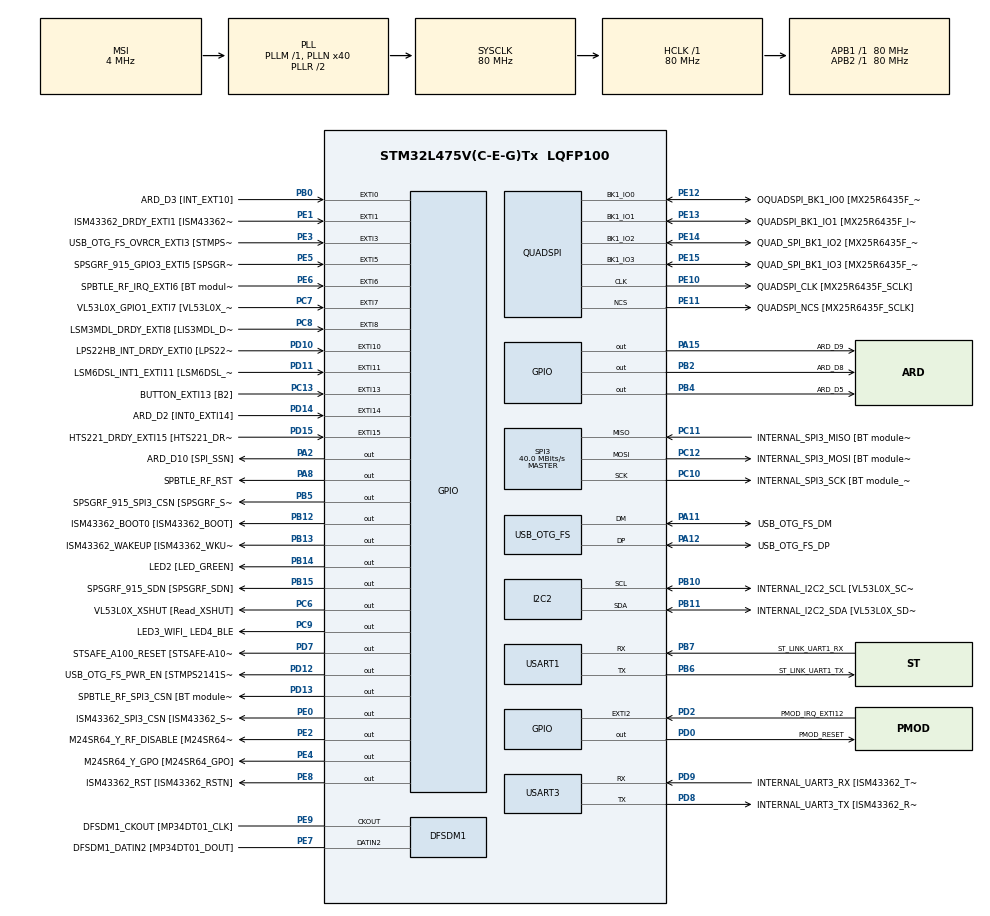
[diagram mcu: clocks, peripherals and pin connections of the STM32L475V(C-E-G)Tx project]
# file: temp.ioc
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Mcu.Family=STM32L4
Mcu.Name=STM32L475V(C-E-G)Tx
Mcu.Package=LQFP100
NVIC.EXTI15_10_IRQn=true\:0\:0\:false\:false\:true\:true\:true
NVIC.EXTI9_5_IRQn=true\:0\:0\:false\:false\:true\:true\:true
NVIC.PriorityGroup=NVIC_PRIORITYGROUP_4
PA0.GPIO_Label=ARD_D1 [UART4_TX]
PA0.Signal=UART4_TX
PA1.GPIO_Label=ARD_D0 [UART4_RX]
PA1.Signal=UART4_RX
PA10.GPIO_Label=USB_OTG_FS_ID
PA10.Signal=USB_OTG_FS_ID
PA11.GPIO_Label=USB_OTG_FS_DM
PA11.Mode=Device_Only
PA11.Signal=USB_OTG_FS_DM
PA12.GPIO_Label=USB_OTG_FS_DP
PA12.Mode=Device_Only
PA12.Signal=USB_OTG_FS_DP
PA13\ (JTMS-SWDIO).GPIO_Label=SYS_JTMS_SWDIO
PA13\ (JTMS-SWDIO).Mode=Serial_Wire
PA13\ (JTMS-SWDIO).Signal=SYS_JTMS-SWDIO
PA14\ (JTCK-SWCLK).GPIO_Label=SYS_JTCK_SWCLK
PA14\ (JTCK-SWCLK).Mode=Serial_Wire
PA14\ (JTCK-SWCLK).Signal=SYS_JTCK-SWCLK
PA15\ (JTDI).GPIO_Label=ARD_D9
PA15\ (JTDI).Signal=GPIO_Output
PA2.GPIO_Label=ARD_D10 [SPI_SSN]
PA2.Signal=GPIO_Output
PA3.GPIO_Label=ARD_D4
PA3.Signal=S_TIM2_CH4
PA4.GPIO_Label=ARD_D7
PA4.Signal=ADCx_IN9
PA5.GPIO_Label=ARD_D13 [SPI1_SCK]
PA5.Signal=SPI1_SCK
PA6.GPIO_Label=ARD_D12 [SPI1_MISO]
PA6.Signal=SPI1_MISO
PA7.GPIO_Label=ARD_D11 [SPI1_MOSI]
PA7.Signal=SPI1_MOSI
PA8.GPIO_Label=SPBTLE_RF_RST
PA8.Signal=GPIO_Output
PA9.GPIO_Label=USB_OTG_FS_VBUS [STMPS2141STR_OUT]
PA9.Signal=USB_OTG_FS_VBUS
PB0.GPIO_Label=ARD_D3 [INT_EXT10]
PB0.Signal=GPXTI0
PB1.GPIO_Label=ARD_D6 [ADC1_IN6]
PB1.Signal=ADCx_IN16
PB10.GPIO_Label=INTERNAL_I2C2_SCL [VL53L0X_SCL]
PB10.Mode=I2C
PB10.Signal=I2C2_SCL
PB11.GPIO_Label=INTERNAL_I2C2_SDA [VL53L0X_SDA]
PB11.Mode=I2C
PB11.Signal=I2C2_SDA
PB12.GPIO_Label=ISM43362_BOOT0 [ISM43362_BOOT]
PB12.Signal=GPIO_Output
PB13.GPIO_Label=ISM43362_WAKEUP [ISM43362_WKUP]
PB13.Signal=GPIO_Output
PB14.GPIO_Label=LED2 [LED_GREEN]
PB14.Signal=GPIO_Output
PB15.GPIO_Label=SPSGRF_915_SDN [SPSGRF_SDN]
PB15.Signal=GPIO_Output
PB2.GPIO_Label=ARD_D8
PB2.Signal=GPIO_Output
PB3\ (JTDO-TRACESWO).GPIO_Label=SYS_JTD0_SWO
PB3\ (JTDO-TRACESWO).Signal=SYS_JTDO-SWO
PB4\ (NJTRST).GPIO_Label=ARD_D5
PB4\ (NJTRST).Signal=GPIO_Output
PB5.GPIO_Label=SPSGRF_915_SPI3_CSN [SPSGRF_SPI_CS]
PB5.PinState=GPIO_PIN_SET
PB5.Signal=GPIO_Output
PB6.GPIO_Label=ST_LINK_UART1_TX
PB6.Mode=Asynchronous
PB6.Signal=USART1_TX
PB7.GPIO_Label=ST_LINK_UART1_RX
PB7.Mode=Asynchronous
PB7.Signal=USART1_RX
PB8.GPIO_Label=ARD_D15 [I2C1_SCL]
PB8.Signal=I2C1_SCL
PB9.GPIO_Label=ARD_D14 [I2C1_SDA]
PB9.Signal=I2C1_SDA
PC0.GPIO_Label=ARD_A5 [ADC]
PC0.Signal=ADCx_IN1
PC1.GPIO_Label=ARD_A4 [ADC]
PC1.Signal=ADCx_IN2
PC10.GPIO_Label=INTERNAL_SPI3_SCK [BT module_SPI_SCLK] [ISM43362_SCK]
PC10.Mode=Full_Duplex_Master
PC10.Signal=SPI3_SCK
PC11.GPIO_Label=INTERNAL_SPI3_MISO [BT module_SPI_MISO] [ISM43362_MISO]
PC11.Mode=Full_Duplex_Master
PC11.Signal=SPI3_MISO
PC12.GPIO_Label=INTERNAL_SPI3_MOSI [BT module_SPI_MOSI] [ISM43362_MOSI]
PC12.Mode=Full_Duplex_Master
PC12.Signal=SPI3_MOSI
PC13.GPIO_Label=BUTTON_EXTI13 [B2]
PC13.GPIO_ModeDefaultEXTI=GPIO_MODE_IT_FALLING
PC13.Signal=GPXTI13
PC14-OSC32_IN\ (PC14).Mode=LSE-External-Oscillator
PC14-OSC32_IN\ (PC14).Signal=RCC_OSC32_IN
PC15-OSC32_OUT\ (PC15).Mode=LSE-External-Oscillator
PC15-OSC32_OUT\ (PC15).Signal=RCC_OSC32_OUT
PC2.GPIO_Label=ARD_A3 [ADC]
PC2.Signal=ADCx_IN3
PC3.GPIO_Label=ARD_A2 [ADC]
PC3.Signal=ADCx_IN4
PC4.GPIO_Label=ARD_A1 [ADC]
PC4.Signal=ADCx_IN13
PC5.GPIO_Label=ARD_A0 [ADC]
PC5.Signal=ADCx_IN14
PC6.GPIO_Label=VL53L0X_XSHUT [Read_XSHUT]
PC6.Signal=GPIO_Output
PC7.GPIO_Label=VL53L0X_GPIO1_EXTI7 [VL53L0X_GPIO1]
PC7.Signal=GPXTI7
PC8.GPIO_Label=LSM3MDL_DRDY_EXTI8 [LIS3MDL_DRDY]
PC8.Signal=GPXTI8
PC9.GPIO_Label=LED3_WIFI_ LED4_BLE
PC9.Signal=GPIO_Output
PD0.GPIO_Label=PMOD_RESET
PD0.Signal=GPIO_Output
PD1.GPIO_Label=PMOD_SPI2_SCK
PD1.Signal=SPI2_SCK
PD10.GPIO_Label=LPS22HB_INT_DRDY_EXTI0 [LPS22HB_INT_DRDY] 
PD10.Signal=GPXTI10
PD11.GPIO_Label=LSM6DSL_INT1_EXTI11 [LSM6DSL_INT1]
PD11.Signal=GPXTI11
PD12.GPIO_Label=USB_OTG_FS_PWR_EN [STMPS2141STR_EN]
PD12.Signal=GPIO_Output
PD13.GPIO_Label=SPBTLE_RF_SPI3_CSN [BT module_SPI_CS]
PD13.PinState=GPIO_PIN_SET
PD13.Signal=GPIO_Output
PD14.GPIO_Label=ARD_D2 [INT0_EXTI14]
PD14.Signal=GPXTI14
PD15.GPIO_Label=HTS221_DRDY_EXTI15 [HTS221_DRDY]
PD15.Signal=GPXTI15
PD2.GPIO_Label=PMOD_IRQ_EXTI12
PD2.Signal=GPXTI2
PD3.GPIO_Label=PMOD_UART2_CTS
PD3.Signal=USART2_CTS
PD4.GPIO_Label=PMOD_UART2_RTS
PD4.Signal=USART2_RTS
PD5.GPIO_Label=PMOD_UART2_TX
PD5.Signal=USART2_TX
PD6.GPIO_Label=PMOD_UART2_RX
PD6.Signal=USART2_RX
PD7.GPIO_Label=STSAFE_A100_RESET [STSAFE-A100_RESET]
PD7.Signal=GPIO_Output
PD8.GPIO_Label=INTERNAL_UART3_TX [ISM43362_RX]
PD8.Mode=Asynchronous
PD8.Signal=USART3_TX
PD9.GPIO_Label=INTERNAL_UART3_RX [ISM43362_TX]
PD9.Mode=Asynchronous
PD9.Signal=USART3_RX
PE0.GPIO_Label=ISM43362_SPI3_CSN [ISM43362_SSN]
PE0.PinState=GPIO_PIN_SET
PE0.Signal=GPIO_Output
PE1.GPIO_Label=ISM43362_DRDY_EXTI1 [ISM43362_DATARDY]
PE1.Signal=GPXTI1
PE10.GPIO_Label=QUADSPI_CLK [MX25R6435F_SCLK]
PE10.Mode=Single Bank
PE10.Signal=QUADSPI_CLK
PE11.GPIO_Label=QUADSPI_NCS [MX25R6435F_SCLK]
PE11.Mode=Single Bank
PE11.Signal=QUADSPI_NCS
PE12.GPIO_Label=OQUADSPI_BK1_IO0 [MX25R6435F_IO0]
PE12.Mode=Single Bank
PE12.Signal=QUADSPI_BK1_IO0
PE13.GPIO_Label=QUADSPI_BK1_IO1 [MX25R6435F_IO1]
PE13.Mode=Single Bank
PE13.Signal=QUADSPI_BK1_IO1
PE14.GPIO_Label=QUAD_SPI_BK1_IO2 [MX25R6435F_IO2]
PE14.Mode=Single Bank
PE14.Signal=QUADSPI_BK1_IO2
PE15.GPIO_Label=QUAD_SPI_BK1_IO3 [MX25R6435F_IO3]
PE15.Mode=Single Bank
PE15.Signal=QUADSPI_BK1_IO3
PE2.GPIO_Label=M24SR64_Y_RF_DISABLE [M24SR64_RFDIS]
PE2.Signal=GPIO_Output
PE3.GPIO_Label=USB_OTG_FS_OVRCR_EXTI3 [STMPS2141STR_FAULT]
PE3.Signal=GPXTI3
PE4.GPIO_Label=M24SR64_Y_GPO [M24SR64_GPO]
PE4.Signal=GPIO_Output
PE5.GPIO_Label=SPSGRF_915_GPIO3_EXTI5 [SPSGRF_GPIO_3]
PE5.Signal=GPXTI5
PE6.GPIO_Label=SPBTLE_RF_IRQ_EXTI6 [BT module_SPI_IRQ]
PE6.Signal=GPXTI6
PE7.GPIO_Label=DFSDM1_DATIN2 [MP34DT01_DOUT]
PE7.Signal=S_DATAIN2DFSDM1
PE8.GPIO_Label=ISM43362_RST [ISM43362_RSTN]
PE8.Signal=GPIO_Output
PE9.GPIO_Label=DFSDM1_CKOUT [MP34DT01_CLK]
PE9.Signal=S_CKOUTDFSDM1
ProjectManager.HeapSize=0x200
ProjectManager.StackSize=0x400
ProjectManager.TargetToolchain=STM32CubeIDE
QUADSPI.ClockPrescaler=2
QUADSPI.FifoThreshold=4
QUADSPI.FlashSize=23
QUADSPI.SampleShifting=QSPI_SAMPLE_SHIFTING_HALFCYCLE
RCC.ADCFreq_Value=48000000
RCC.AHBFreq_Value=80000000
RCC.APB1Freq_Value=80000000
RCC.APB1TimFreq_Value=80000000
RCC.APB2Freq_Value=80000000
RCC.APB2TimFreq_Value=80000000
RCC.CortexFreq_Value=80000000
RCC.HCLKFreq_Value=80000000
RCC.HSE_VALUE=8000000
RCC.HSI_VALUE=16000000
RCC.MSI_VALUE=4000000
RCC.PLLN=40
RCC.PLLSAI1N=24
RCC.SYSCLKFreq_VALUE=80000000
RCC.SYSCLKSource=RCC_SYSCLKSOURCE_PLLCLK
RCC.USBFreq_Value=48000000
RCC.VCOOutputFreq_Value=160000000
SH.ADCx_IN1.0=ADC1_IN1
SH.ADCx_IN13.0=ADC1_IN13
SH.ADCx_IN14.0=ADC1_IN14
SH.ADCx_IN16.0=ADC1_IN16
SH.ADCx_IN2.0=ADC1_IN2
SH.ADCx_IN3.0=ADC1_IN3
SH.ADCx_IN4.0=ADC1_IN4
SH.ADCx_IN9.0=ADC1_IN9
SH.S_CKOUTDFSDM1.0=DFSDM1_CKOUT,CKOUT
SH.S_CKOUTDFSDM1.1=DFSDM1_CKOUT,PDM_SPI_Input_from_ch12_and_Internal_Clock
SH.S_DATAIN2DFSDM1.0=DFSDM1_DATIN2,PDM_SPI_Input_from_ch12_and_Internal_Clock
SH.S_TIM2_CH4.0=TIM2_CH4
SPI3.CalculateBaudRate=40.0 MBits/s
SPI3.Direction=SPI_DIRECTION_2LINES
SPI3.Mode=SPI_MODE_MASTER
SPI3.VirtualType=VM_MASTER
USART1.VirtualMode-Asynchronous=VM_ASYNC
USART3.VirtualMode-Asynchronous=VM_ASYNC
USB_OTG_FS.VirtualMode=Device_Only
board=B-L475E-IOT01A2

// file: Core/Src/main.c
/* USER CODE BEGIN Header */
/**
  ******************************************************************************
  * @file           : main.c
  * @brief          : Main program body
  ******************************************************************************
  * @attention
  *
  * <h2><center>&copy; Copyright (c) 2021 STMicroelectronics.
  * All rights reserved.</center></h2>
  *
  * This software component is licensed by ST under BSD 3-Clause license,
  * the "License"; You may not use this file except in compliance with the
  * License. You may obtain a copy of the License at:
  *                        opensource.org/licenses/BSD-3-Clause
  *
  ******************************************************************************
  */
/* USER CODE END Header */
#include "main.h"

/* USER CODE BEGIN Includes */
#include "stm32l475e_iot01.h"
#include "stm32l475e_iot01_tsensor.h"
#include <math.h>
#include "hts221.h"
#include "string.h"

/* USER CODE END Includes */

/* USER CODE BEGIN PD */
#define SSID     "pi"
#define PASSWORD "heyhet123"
/* USER CODE END PD */

DFSDM_Channel_HandleTypeDef hdfsdm1_channel1;

I2C_HandleTypeDef hi2c2;

QSPI_HandleTypeDef hqspi;

SPI_HandleTypeDef hspi3;

UART_HandleTypeDef huart1;
UART_HandleTypeDef huart3;

PCD_HandleTypeDef hpcd_USB_OTG_FS;

/* USER CODE BEGIN PV */

float temp_value = 0;  // Measured temperature value
char str_tmp[100] = ""; // Formatted message to display the temperature value
uint8_t msg1[] = "****** Temperature values measurement ******\n\n\r";
uint8_t msg2[] = "=====> Initialize Temperature sensor HTS221 \r\n";
uint8_t msg3[] = "=====> Temperature sensor HTS221 initialized \r\n ";
/* USER CODE END PV */

void SystemClock_Config(void);
static void MX_GPIO_Init(void);
static void MX_DFSDM1_Init(void);
static void MX_I2C2_Init(void);
static void MX_QUADSPI_Init(void);
static void MX_SPI3_Init(void);
static void MX_USART1_UART_Init(void);
static void MX_USART3_UART_Init(void);
static void MX_USB_OTG_FS_PCD_Init(void);

int main(void)
{

  /* MCU Configuration--------------------------------------------------------*/

  /* Reset of all peripherals, Initializes the Flash interface and the Systick. */
  HAL_Init();

  /* Configure the system clock */
  SystemClock_Config();

  /* Initialize all configured peripherals */
  MX_GPIO_Init();
  MX_DFSDM1_Init();
  MX_I2C2_Init();
  MX_QUADSPI_Init();
  MX_SPI3_Init();
  MX_USART1_UART_Init();
  MX_USART3_UART_Init();
  MX_USB_OTG_FS_PCD_Init();

  /* USER CODE BEGIN 2 */
  HAL_UART_Transmit(&huart1,msg1,sizeof(msg1),1000);
  HAL_UART_Transmit(&huart1,msg2,sizeof(msg2),1000);
  BSP_TSENSOR_Init();
  HAL_UART_Transmit(&huart1,msg3,sizeof(msg3),1000);
  /* USER CODE END 2 */

  /* Infinite loop */
  while (1)
  {
	  temp_value = BSP_TSENSOR_ReadTemp();
	  int tmpInt1 = temp_value;
	  float tmpFrac = temp_value - tmpInt1;
	  int tmpInt2 = trunc(tmpFrac * 100);
	  snprintf(str_tmp,100," TEMPERATURE = %d.%02d\n\r", tmpInt1, tmpInt2);
	  HAL_UART_Transmit(&huart1,( uint8_t * )str_tmp,sizeof(str_tmp),1000);
	  HAL_Delay(1000);

  }
}

void SystemClock_Config(void)
{
  RCC_OscInitTypeDef RCC_OscInitStruct = {0};
  RCC_ClkInitTypeDef RCC_ClkInitStruct = {0};
  RCC_PeriphCLKInitTypeDef PeriphClkInit = {0};

  /** Configure LSE Drive Capability
  */
  HAL_PWR_EnableBkUpAccess();
  __HAL_RCC_LSEDRIVE_CONFIG(RCC_LSEDRIVE_LOW);
  /** Initializes the RCC Oscillators according to the specified parameters
  * in the RCC_OscInitTypeDef structure.
  */
  RCC_OscInitStruct.OscillatorType = RCC_OSCILLATORTYPE_LSE|RCC_OSCILLATORTYPE_MSI;
  RCC_OscInitStruct.LSEState = RCC_LSE_ON;
  RCC_OscInitStruct.MSIState = RCC_MSI_ON;
  RCC_OscInitStruct.MSICalibrationValue = 0;
  RCC_OscInitStruct.MSIClockRange = RCC_MSIRANGE_6;
  RCC_OscInitStruct.PLL.PLLState = RCC_PLL_ON;
  RCC_OscInitStruct.PLL.PLLSource = RCC_PLLSOURCE_MSI;
  RCC_OscInitStruct.PLL.PLLM = 1;
  RCC_OscInitStruct.PLL.PLLN = 40;
  RCC_OscInitStruct.PLL.PLLP = RCC_PLLP_DIV7;
  RCC_OscInitStruct.PLL.PLLQ = RCC_PLLQ_DIV2;
  RCC_OscInitStruct.PLL.PLLR = RCC_PLLR_DIV2;
  if (HAL_RCC_OscConfig(&RCC_OscInitStruct) != HAL_OK)
  {
    Error_Handler();
  }
  /** Initializes the CPU, AHB and APB buses clocks
  */
  RCC_ClkInitStruct.ClockType = RCC_CLOCKTYPE_HCLK|RCC_CLOCKTYPE_SYSCLK
                              |RCC_CLOCKTYPE_PCLK1|RCC_CLOCKTYPE_PCLK2;
  RCC_ClkInitStruct.SYSCLKSource = RCC_SYSCLKSOURCE_PLLCLK;
  RCC_ClkInitStruct.AHBCLKDivider = RCC_SYSCLK_DIV1;
  RCC_ClkInitStruct.APB1CLKDivider = RCC_HCLK_DIV1;
  RCC_ClkInitStruct.APB2CLKDivider = RCC_HCLK_DIV1;

  if (HAL_RCC_ClockConfig(&RCC_ClkInitStruct, FLASH_LATENCY_4) != HAL_OK)
  {
    Error_Handler();
  }
  PeriphClkInit.PeriphClockSelection = RCC_PERIPHCLK_USART1|RCC_PERIPHCLK_USART3
                              |RCC_PERIPHCLK_I2C2|RCC_PERIPHCLK_DFSDM1
                              |RCC_PERIPHCLK_USB;
  PeriphClkInit.Usart1ClockSelection = RCC_USART1CLKSOURCE_PCLK2;
  PeriphClkInit.Usart3ClockSelection = RCC_USART3CLKSOURCE_PCLK1;
  PeriphClkInit.I2c2ClockSelection = RCC_I2C2CLKSOURCE_PCLK1;
  PeriphClkInit.Dfsdm1ClockSelection = RCC_DFSDM1CLKSOURCE_PCLK;
  PeriphClkInit.UsbClockSelection = RCC_USBCLKSOURCE_PLLSAI1;
  PeriphClkInit.PLLSAI1.PLLSAI1Source = RCC_PLLSOURCE_MSI;
  PeriphClkInit.PLLSAI1.PLLSAI1M = 1;
  PeriphClkInit.PLLSAI1.PLLSAI1N = 24;
  PeriphClkInit.PLLSAI1.PLLSAI1P = RCC_PLLP_DIV7;
  PeriphClkInit.PLLSAI1.PLLSAI1Q = RCC_PLLQ_DIV2;
  PeriphClkInit.PLLSAI1.PLLSAI1R = RCC_PLLR_DIV2;
  PeriphClkInit.PLLSAI1.PLLSAI1ClockOut = RCC_PLLSAI1_48M2CLK;
  if (HAL_RCCEx_PeriphCLKConfig(&PeriphClkInit) != HAL_OK)
  {
    Error_Handler();
  }
  /** Configure the main internal regulator output voltage
  */
  if (HAL_PWREx_ControlVoltageScaling(PWR_REGULATOR_VOLTAGE_SCALE1) != HAL_OK)
  {
    Error_Handler();
  }
  /** Enable MSI Auto calibration
  */
  HAL_RCCEx_EnableMSIPLLMode();
}

static void MX_DFSDM1_Init(void)
{

  hdfsdm1_channel1.Instance = DFSDM1_Channel1;
  hdfsdm1_channel1.Init.OutputClock.Activation = ENABLE;
  hdfsdm1_channel1.Init.OutputClock.Selection = DFSDM_CHANNEL_OUTPUT_CLOCK_SYSTEM;
  hdfsdm1_channel1.Init.OutputClock.Divider = 2;
  hdfsdm1_channel1.Init.Input.Multiplexer = DFSDM_CHANNEL_EXTERNAL_INPUTS;
  hdfsdm1_channel1.Init.Input.DataPacking = DFSDM_CHANNEL_STANDARD_MODE;
  hdfsdm1_channel1.Init.Input.Pins = DFSDM_CHANNEL_FOLLOWING_CHANNEL_PINS;
  hdfsdm1_channel1.Init.SerialInterface.Type = DFSDM_CHANNEL_SPI_RISING;
  hdfsdm1_channel1.Init.SerialInterface.SpiClock = DFSDM_CHANNEL_SPI_CLOCK_INTERNAL;
  hdfsdm1_channel1.Init.Awd.FilterOrder = DFSDM_CHANNEL_FASTSINC_ORDER;
  hdfsdm1_channel1.Init.Awd.Oversampling = 1;
  hdfsdm1_channel1.Init.Offset = 0;
  hdfsdm1_channel1.Init.RightBitShift = 0x00;
  if (HAL_DFSDM_ChannelInit(&hdfsdm1_channel1) != HAL_OK)
  {
    Error_Handler();
  }

}

static void MX_I2C2_Init(void)
{

  hi2c2.Instance = I2C2;
  hi2c2.Init.Timing = 0x00000E14;
  hi2c2.Init.OwnAddress1 = 0;
  hi2c2.Init.AddressingMode = I2C_ADDRESSINGMODE_7BIT;
  hi2c2.Init.DualAddressMode = I2C_DUALADDRESS_DISABLE;
  hi2c2.Init.OwnAddress2 = 0;
  hi2c2.Init.OwnAddress2Masks = I2C_OA2_NOMASK;
  hi2c2.Init.GeneralCallMode = I2C_GENERALCALL_DISABLE;
  hi2c2.Init.NoStretchMode = I2C_NOSTRETCH_DISABLE;
  if (HAL_I2C_Init(&hi2c2) != HAL_OK)
  {
    Error_Handler();
  }
  /** Configure Analogue filter
  */
  if (HAL_I2CEx_ConfigAnalogFilter(&hi2c2, I2C_ANALOGFILTER_ENABLE) != HAL_OK)
  {
    Error_Handler();
  }
  /** Configure Digital filter
  */
  if (HAL_I2CEx_ConfigDigitalFilter(&hi2c2, 0) != HAL_OK)
  {
    Error_Handler();
  }

}

static void MX_QUADSPI_Init(void)
{

  /* QUADSPI parameter configuration*/
  hqspi.Instance = QUADSPI;
  hqspi.Init.ClockPrescaler = 2;
  hqspi.Init.FifoThreshold = 4;
  hqspi.Init.SampleShifting = QSPI_SAMPLE_SHIFTING_HALFCYCLE;
  hqspi.Init.FlashSize = 23;
  hqspi.Init.ChipSelectHighTime = QSPI_CS_HIGH_TIME_1_CYCLE;
  hqspi.Init.ClockMode = QSPI_CLOCK_MODE_0;
  if (HAL_QSPI_Init(&hqspi) != HAL_OK)
  {
    Error_Handler();
  }

}

static void MX_SPI3_Init(void)
{

  /* SPI3 parameter configuration*/
  hspi3.Instance = SPI3;
  hspi3.Init.Mode = SPI_MODE_MASTER;
  hspi3.Init.Direction = SPI_DIRECTION_2LINES;
  hspi3.Init.DataSize = SPI_DATASIZE_4BIT;
  hspi3.Init.CLKPolarity = SPI_POLARITY_LOW;
  hspi3.Init.CLKPhase = SPI_PHASE_1EDGE;
  hspi3.Init.NSS = SPI_NSS_SOFT;
  hspi3.Init.BaudRatePrescaler = SPI_BAUDRATEPRESCALER_2;
  hspi3.Init.FirstBit = SPI_FIRSTBIT_MSB;
  hspi3.Init.TIMode = SPI_TIMODE_DISABLE;
  hspi3.Init.CRCCalculation = SPI_CRCCALCULATION_DISABLE;
  hspi3.Init.CRCPolynomial = 7;
  hspi3.Init.CRCLength = SPI_CRC_LENGTH_DATASIZE;
  hspi3.Init.NSSPMode = SPI_NSS_PULSE_ENABLE;
  if (HAL_SPI_Init(&hspi3) != HAL_OK)
  {
    Error_Handler();
  }

}

static void MX_USART1_UART_Init(void)
{

  huart1.Instance = USART1;
  huart1.Init.BaudRate = 115200;
  huart1.Init.WordLength = UART_WORDLENGTH_8B;
  huart1.Init.StopBits = UART_STOPBITS_1;
  huart1.Init.Parity = UART_PARITY_NONE;
  huart1.Init.Mode = UART_MODE_TX_RX;
  huart1.Init.HwFlowCtl = UART_HWCONTROL_NONE;
  huart1.Init.OverSampling = UART_OVERSAMPLING_16;
  huart1.Init.OneBitSampling = UART_ONE_BIT_SAMPLE_DISABLE;
  huart1.AdvancedInit.AdvFeatureInit = UART_ADVFEATURE_NO_INIT;
  if (HAL_UART_Init(&huart1) != HAL_OK)
  {
    Error_Handler();
  }

}

static void MX_USART3_UART_Init(void)
{

  huart3.Instance = USART3;
  huart3.Init.BaudRate = 115200;
  huart3.Init.WordLength = UART_WORDLENGTH_8B;
  huart3.Init.StopBits = UART_STOPBITS_1;
  huart3.Init.Parity = UART_PARITY_NONE;
  huart3.Init.Mode = UART_MODE_TX_RX;
  huart3.Init.HwFlowCtl = UART_HWCONTROL_NONE;
  huart3.Init.OverSampling = UART_OVERSAMPLING_16;
  huart3.Init.OneBitSampling = UART_ONE_BIT_SAMPLE_DISABLE;
  huart3.AdvancedInit.AdvFeatureInit = UART_ADVFEATURE_NO_INIT;
  if (HAL_UART_Init(&huart3) != HAL_OK)
  {
    Error_Handler();
  }

}

static void MX_USB_OTG_FS_PCD_Init(void)
{

  hpcd_USB_OTG_FS.Instance = USB_OTG_FS;
  hpcd_USB_OTG_FS.Init.dev_endpoints = 6;
  hpcd_USB_OTG_FS.Init.speed = PCD_SPEED_FULL;
  hpcd_USB_OTG_FS.Init.phy_itface = PCD_PHY_EMBEDDED;
  hpcd_USB_OTG_FS.Init.Sof_enable = DISABLE;
  hpcd_USB_OTG_FS.Init.low_power_enable = DISABLE;
  hpcd_USB_OTG_FS.Init.lpm_enable = DISABLE;
  hpcd_USB_OTG_FS.Init.battery_charging_enable = DISABLE;
  hpcd_USB_OTG_FS.Init.use_dedicated_ep1 = DISABLE;
  hpcd_USB_OTG_FS.Init.vbus_sensing_enable = DISABLE;
  if (HAL_PCD_Init(&hpcd_USB_OTG_FS) != HAL_OK)
  {
    Error_Handler();
  }

}

/**
  * @brief GPIO Initialization Fnction
  * @param None
  * @retval None
  */
static void MX_GPIO_Init(void)
{
  GPIO_InitTypeDef GPIO_InitStruct = {0};

  /* GPIO Ports Clock Enable */
  __HAL_RCC_GPIOE_CLK_ENABLE();
  __HAL_RCC_GPIOC_CLK_ENABLE();
  __HAL_RCC_GPIOA_CLK_ENABLE();
  __HAL_RCC_GPIOB_CLK_ENABLE();
  __HAL_RCC_GPIOD_CLK_ENABLE();

  /*Configure GPIO pin Output Level */
  HAL_GPIO_WritePin(GPIOE, M24SR64_Y_RF_DISABLE_Pin|M24SR64_Y_GPO_Pin|ISM43362_RST_Pin, GPIO_PIN_RESET);

  /*Configure GPIO pin Output Level */
  HAL_GPIO_WritePin(GPIOA, ARD_D10_Pin|SPBTLE_RF_RST_Pin|ARD_D9_Pin, GPIO_PIN_RESET);

  /*Configure GPIO pin Output Level */
  HAL_GPIO_WritePin(GPIOB, ARD_D8_Pin|ISM43362_BOOT0_Pin|ISM43362_WAKEUP_Pin|LED2_Pin
                          |SPSGRF_915_SDN_Pin|ARD_D5_Pin, GPIO_PIN_RESET);

  /*Configure GPIO pin Output Level */
  HAL_GPIO_WritePin(GPIOD, USB_OTG_FS_PWR_EN_Pin|PMOD_RESET_Pin|STSAFE_A100_RESET_Pin, GPIO_PIN_RESET);

  /*Configure GPIO pin Output Level */
  HAL_GPIO_WritePin(SPBTLE_RF_SPI3_CSN_GPIO_Port, SPBTLE_RF_SPI3_CSN_Pin, GPIO_PIN_SET);

  /*Configure GPIO pin Output Level */
  HAL_GPIO_WritePin(GPIOC, VL53L0X_XSHUT_Pin|LED3_WIFI__LED4_BLE_Pin, GPIO_PIN_RESET);

  /*Configure GPIO pin Output Level */
  HAL_GPIO_WritePin(SPSGRF_915_SPI3_CSN_GPIO_Port, SPSGRF_915_SPI3_CSN_Pin, GPIO_PIN_SET);

  /*Configure GPIO pin Output Level */
  HAL_GPIO_WritePin(ISM43362_SPI3_CSN_GPIO_Port, ISM43362_SPI3_CSN_Pin, GPIO_PIN_SET);

  /*Configure GPIO pins : M24SR64_Y_RF_DISABLE_Pin M24SR64_Y_GPO_Pin ISM43362_RST_Pin ISM43362_SPI3_CSN_Pin */
  GPIO_InitStruct.Pin = M24SR64_Y_RF_DISABLE_Pin|M24SR64_Y_GPO_Pin|ISM43362_RST_Pin|ISM43362_SPI3_CSN_Pin;
  GPIO_InitStruct.Mode = GPIO_MODE_OUTPUT_PP;
  GPIO_InitStruct.Pull = GPIO_NOPULL;
  GPIO_InitStruct.Speed = GPIO_SPEED_FREQ_LOW;
  HAL_GPIO_Init(GPIOE, &GPIO_InitStruct);

  /*Configure GPIO pins : USB_OTG_FS_OVRCR_EXTI3_Pin SPSGRF_915_GPIO3_EXTI5_Pin SPBTLE_RF_IRQ_EXTI6_Pin ISM43362_DRDY_EXTI1_Pin */
  GPIO_InitStruct.Pin = USB_OTG_FS_OVRCR_EXTI3_Pin|SPSGRF_915_GPIO3_EXTI5_Pin|SPBTLE_RF_IRQ_EXTI6_Pin|ISM43362_DRDY_EXTI1_Pin;
  GPIO_InitStruct.Mode = GPIO_MODE_IT_RISING;
  GPIO_InitStruct.Pull = GPIO_NOPULL;
  HAL_GPIO_Init(GPIOE, &GPIO_InitStruct);

  /*Configure GPIO pin : BUTTON_EXTI13_Pin */
  GPIO_InitStruct.Pin = BUTTON_EXTI13_Pin;
  GPIO_InitStruct.Mode = GPIO_MODE_IT_FALLING;
  GPIO_InitStruct.Pull = GPIO_NOPULL;
  HAL_GPIO_Init(BUTTON_EXTI13_GPIO_Port, &GPIO_InitStruct);

  /*Configure GPIO pins : ARD_A5_Pin ARD_A4_Pin ARD_A3_Pin ARD_A2_Pin
                           ARD_A1_Pin ARD_A0_Pin */
  GPIO_InitStruct.Pin = ARD_A5_Pin|ARD_A4_Pin|ARD_A3_Pin|ARD_A2_Pin
                          |ARD_A1_Pin|ARD_A0_Pin;
  GPIO_InitStruct.Mode = GPIO_MODE_ANALOG_ADC_CONTROL;
  GPIO_InitStruct.Pull = GPIO_NOPULL;
  HAL_GPIO_Init(GPIOC, &GPIO_InitStruct);

  /*Configure GPIO pins : ARD_D1_Pin ARD_D0_Pin */
  GPIO_InitStruct.Pin = ARD_D1_Pin|ARD_D0_Pin;
  GPIO_InitStruct.Mode = GPIO_MODE_AF_PP;
  GPIO_InitStruct.Pull = GPIO_NOPULL;
  GPIO_InitStruct.Speed = GPIO_SPEED_FREQ_VERY_HIGH;
  GPIO_InitStruct.Alternate = GPIO_AF8_UART4;
  HAL_GPIO_Init(GPIOA, &GPIO_InitStruct);

  /*Configure GPIO pins : ARD_D10_Pin SPBTLE_RF_RST_Pin ARD_D9_Pin */
  GPIO_InitStruct.Pin = ARD_D10_Pin|SPBTLE_RF_RST_Pin|ARD_D9_Pin;
  GPIO_InitStruct.Mode = GPIO_MODE_OUTPUT_PP;
  GPIO_InitStruct.Pull = GPIO_NOPULL;
  GPIO_InitStruct.Speed = GPIO_SPEED_FREQ_LOW;
  HAL_GPIO_Init(GPIOA, &GPIO_InitStruct);

  /*Configure GPIO pin : ARD_D4_Pin */
  GPIO_InitStruct.Pin = ARD_D4_Pin;
  GPIO_InitStruct.Mode = GPIO_MODE_AF_PP;
  GPIO_InitStruct.Pull = GPIO_NOPULL;
  GPIO_InitStruct.Speed = GPIO_SPEED_FREQ_LOW;
  GPIO_InitStruct.Alternate = GPIO_AF1_TIM2;
  HAL_GPIO_Init(ARD_D4_GPIO_Port, &GPIO_InitStruct);

  /*Configure GPIO pin : ARD_D7_Pin */
  GPIO_InitStruct.Pin = ARD_D7_Pin;
  GPIO_InitStruct.Mode = GPIO_MODE_ANALOG_ADC_CONTROL;
  GPIO_InitStruct.Pull = GPIO_NOPULL;
  HAL_GPIO_Init(ARD_D7_GPIO_Port, &GPIO_InitStruct);

  /*Configure GPIO pins : ARD_D13_Pin ARD_D12_Pin ARD_D11_Pin */
  GPIO_InitStruct.Pin = ARD_D13_Pin|ARD_D12_Pin|ARD_D11_Pin;
  GPIO_InitStruct.Mode = GPIO_MODE_AF_PP;
  GPIO_InitStruct.Pull = GPIO_NOPULL;
  GPIO_InitStruct.Speed = GPIO_SPEED_FREQ_VERY_HIGH;
  GPIO_InitStruct.Alternate = GPIO_AF5_SPI1;
  HAL_GPIO_Init(GPIOA, &GPIO_InitStruct);

  /*Configure GPIO pin : ARD_D3_Pin */
  GPIO_InitStruct.Pin = ARD_D3_Pin;
  GPIO_InitStruct.Mode = GPIO_MODE_IT_RISING;
  GPIO_InitStruct.Pull = GPIO_NOPULL;
  HAL_GPIO_Init(ARD_D3_GPIO_Port, &GPIO_InitStruct);

  /*Configure GPIO pin : ARD_D6_Pin */
  GPIO_InitStruct.Pin = ARD_D6_Pin;
  GPIO_InitStruct.Mode = GPIO_MODE_ANALOG_ADC_CONTROL;
  GPIO_InitStruct.Pull = GPIO_NOPULL;
  HAL_GPIO_Init(ARD_D6_GPIO_Port, &GPIO_InitStruct);

  /*Configure GPIO pins : ARD_D8_Pin ISM43362_BOOT0_Pin ISM43362_WAKEUP_Pin LED2_Pin
                           SPSGRF_915_SDN_Pin ARD_D5_Pin SPSGRF_915_SPI3_CSN_Pin */
  GPIO_InitStruct.Pin = ARD_D8_Pin|ISM43362_BOOT0_Pin|ISM43362_WAKEUP_Pin|LED2_Pin
                          |SPSGRF_915_SDN_Pin|ARD_D5_Pin|SPSGRF_915_SPI3_CSN_Pin;
  GPIO_InitStruct.Mode = GPIO_MODE_OUTPUT_PP;
  GPIO_InitStruct.Pull = GPIO_NOPULL;
  GPIO_InitStruct.Speed = GPIO_SPEED_FREQ_LOW;
  HAL_GPIO_Init(GPIOB, &GPIO_InitStruct);

  /*Configure GPIO pins : LPS22HB_INT_DRDY_EXTI0_Pin LSM6DSL_INT1_EXTI11_Pin ARD_D2_Pin HTS221_DRDY_EXTI15_Pin
                           PMOD_IRQ_EXTI12_Pin */
  GPIO_InitStruct.Pin = LPS22HB_INT_DRDY_EXTI0_Pin|LSM6DSL_INT1_EXTI11_Pin|ARD_D2_Pin|HTS221_DRDY_EXTI15_Pin
                          |PMOD_IRQ_EXTI12_Pin;
  GPIO_InitStruct.Mode = GPIO_MODE_IT_RISING;
  GPIO_InitStruct.Pull = GPIO_NOPULL;
  HAL_GPIO_Init(GPIOD, &GPIO_InitStruct);

  /*Configure GPIO pins : USB_OTG_FS_PWR_EN_Pin SPBTLE_RF_SPI3_CSN_Pin PMOD_RESET_Pin STSAFE_A100_RESET_Pin */
  GPIO_InitStruct.Pin = USB_OTG_FS_PWR_EN_Pin|SPBTLE_RF_SPI3_CSN_Pin|PMOD_RESET_Pin|STSAFE_A100_RESET_Pin;
  GPIO_InitStruct.Mode = GPIO_MODE_OUTPUT_PP;
  GPIO_InitStruct.Pull = GPIO_NOPULL;
  GPIO_InitStruct.Speed = GPIO_SPEED_FREQ_LOW;
  HAL_GPIO_Init(GPIOD, &GPIO_InitStruct);

  /*Configure GPIO pins : VL53L0X_XSHUT_Pin LED3_WIFI__LED4_BLE_Pin */
  GPIO_InitStruct.Pin = VL53L0X_XSHUT_Pin|LED3_WIFI__LED4_BLE_Pin;
  GPIO_InitStruct.Mode = GPIO_MODE_OUTPUT_PP;
  GPIO_InitStruct.Pull = GPIO_NOPULL;
  GPIO_InitStruct.Speed = GPIO_SPEED_FREQ_LOW;
  HAL_GPIO_Init(GPIOC, &GPIO_InitStruct);

  /*Configure GPIO pins : VL53L0X_GPIO1_EXTI7_Pin LSM3MDL_DRDY_EXTI8_Pin */
  GPIO_InitStruct.Pin = VL53L0X_GPIO1_EXTI7_Pin|LSM3MDL_DRDY_EXTI8_Pin;
  GPIO_InitStruct.Mode = GPIO_MODE_IT_RISING;
  GPIO_InitStruct.Pull = GPIO_NOPULL;
  HAL_GPIO_Init(GPIOC, &GPIO_InitStruct);

  /*Configure GPIO pin : PMOD_SPI2_SCK_Pin */
  GPIO_InitStruct.Pin = PMOD_SPI2_SCK_Pin;
  GPIO_InitStruct.Mode = GPIO_MODE_AF_PP;
  GPIO_InitStruct.Pull = GPIO_NOPULL;
  GPIO_InitStruct.Speed = GPIO_SPEED_FREQ_VERY_HIGH;
  GPIO_InitStruct.Alternate = GPIO_AF5_SPI2;
  HAL_GPIO_Init(PMOD_SPI2_SCK_GPIO_Port, &GPIO_InitStruct);

  /*Configure GPIO pins : PMOD_UART2_CTS_Pin PMOD_UART2_RTS_Pin PMOD_UART2_TX_Pin PMOD_UART2_RX_Pin */
  GPIO_InitStruct.Pin = PMOD_UART2_CTS_Pin|PMOD_UART2_RTS_Pin|PMOD_UART2_TX_Pin|PMOD_UART2_RX_Pin;
  GPIO_InitStruct.Mode = GPIO_MODE_AF_PP;
  GPIO_InitStruct.Pull = GPIO_NOPULL;
  GPIO_InitStruct.Speed = GPIO_SPEED_FREQ_VERY_HIGH;
  GPIO_InitStruct.Alternate = GPIO_AF7_USART2;
  HAL_GPIO_Init(GPIOD, &GPIO_InitStruct);

  /*Configure GPIO pins : ARD_D15_Pin ARD_D14_Pin */
  GPIO_InitStruct.Pin = ARD_D15_Pin|ARD_D14_Pin;
  GPIO_InitStruct.Mode = GPIO_MODE_AF_OD;
  GPIO_InitStruct.Pull = GPIO_PULLUP;
  GPIO_InitStruct.Speed = GPIO_SPEED_FREQ_VERY_HIGH;
  GPIO_InitStruct.Alternate = GPIO_AF4_I2C1;
  HAL_GPIO_Init(GPIOB, &GPIO_InitStruct);

  /* EXTI interrupt init*/
  HAL_NVIC_SetPriority(EXTI9_5_IRQn, 0, 0);
  HAL_NVIC_EnableIRQ(EXTI9_5_IRQn);

  HAL_NVIC_SetPriority(EXTI15_10_IRQn, 0, 0);
  HAL_NVIC_EnableIRQ(EXTI15_10_IRQn);

}

void Error_Handler(void)
{
  __disable_irq();
  while (1)
  {
  }
}

/************************ (C) COPYRIGHT STMicroelectronics *****END OF FILE****/
//References:
//https://wiki.st.com/stm32mcu/wiki/STM32StepByStep:Step4_Sensors_usage#Copy_BSP_drivers_to_your_project
